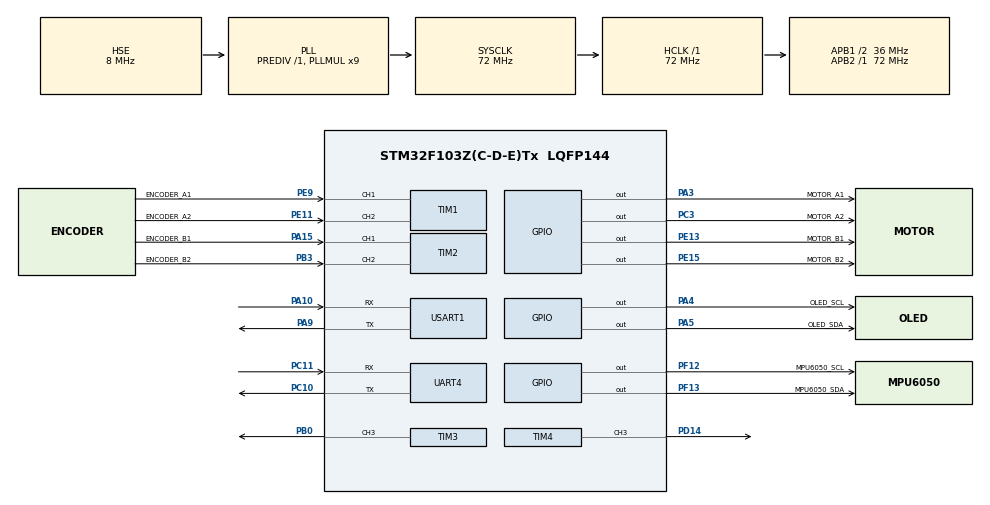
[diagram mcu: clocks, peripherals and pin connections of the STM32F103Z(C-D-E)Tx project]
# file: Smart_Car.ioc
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Dma.Request0=UART4_RX
Dma.UART4_RX.0.Direction=DMA_PERIPH_TO_MEMORY
Dma.UART4_RX.0.Instance=DMA2_Channel3
Dma.UART4_RX.0.MemDataAlignment=DMA_MDATAALIGN_BYTE
Dma.UART4_RX.0.MemInc=DMA_MINC_ENABLE
Dma.UART4_RX.0.Mode=DMA_NORMAL
Dma.UART4_RX.0.PeriphDataAlignment=DMA_PDATAALIGN_BYTE
Dma.UART4_RX.0.PeriphInc=DMA_PINC_DISABLE
Dma.UART4_RX.0.Priority=DMA_PRIORITY_LOW
FREERTOS.Tasks01=Task_200HZ,0,128,StartTask_200HZ,Default,NULL,Dynamic,NULL,NULL;Task_100HZ,-3,128,StartTask_100HZ,Default,NULL,Dynamic,NULL,NULL;Task_Printf,-3,128,StartTask_Printf,Default,NULL,Dynamic,NULL,NULL;Task_Interactio,-3,256,StartTask_Interaction,Default,NULL,Dynamic,NULL,NULL;Task_Oled,-3,128,StartTask_Oled,Default,NULL,Dynamic,NULL,NULL
FREERTOS.configTOTAL_HEAP_SIZE=30960
Mcu.Family=STM32F1
Mcu.Name=STM32F103Z(C-D-E)Tx
Mcu.Package=LQFP144
NVIC.DMA2_Channel3_IRQn=true\:5\:0\:false\:false\:true\:true\:false\:true
NVIC.PriorityGroup=NVIC_PRIORITYGROUP_4
NVIC.TIM5_IRQn=true\:0\:0\:false\:false\:true\:false\:false\:true
NVIC.TimeBase=TIM5_IRQn
NVIC.TimeBaseIP=TIM5
NVIC.UART4_IRQn=true\:5\:0\:false\:false\:true\:true\:true\:true
OSC_IN.Mode=HSE-External-Oscillator
OSC_IN.Signal=RCC_OSC_IN
OSC_OUT.Mode=HSE-External-Oscillator
OSC_OUT.Signal=RCC_OSC_OUT
PA10.Mode=Asynchronous
PA10.Signal=USART1_RX
PA13.Mode=Serial_Wire
PA13.Signal=SYS_JTMS-SWDIO
PA14.Mode=Serial_Wire
PA14.Signal=SYS_JTCK-SWCLK
PA15.GPIO_Label=ENCODER_B1
PA15.Signal=S_TIM2_CH1_ETR
PA3.GPIO_Label=MOTOR_A1
PA3.GPIO_Speed=GPIO_SPEED_FREQ_MEDIUM
PA3.Signal=GPIO_Output
PA4.GPIO_Label=OLED_SCL
PA4.GPIO_ModeDefaultOutputPP=GPIO_MODE_OUTPUT_OD
PA4.GPIO_Speed=GPIO_SPEED_FREQ_HIGH
PA4.PinState=GPIO_PIN_SET
PA4.Signal=GPIO_Output
PA5.GPIO_Label=OLED_SDA
PA5.GPIO_ModeDefaultOutputPP=GPIO_MODE_OUTPUT_OD
PA5.GPIO_Speed=GPIO_SPEED_FREQ_HIGH
PA5.PinState=GPIO_PIN_SET
PA5.Signal=GPIO_Output
PA9.Mode=Asynchronous
PA9.Signal=USART1_TX
PB0.Signal=S_TIM3_CH3
PB3.GPIO_Label=ENCODER_B2
PB3.Signal=S_TIM2_CH2
PC10.Mode=Asynchronous
PC10.Signal=UART4_TX
PC11.Mode=Asynchronous
PC11.Signal=UART4_RX
PC3.GPIO_Label=MOTOR_A2
PC3.GPIO_Speed=GPIO_SPEED_FREQ_MEDIUM
PC3.Signal=GPIO_Output
PD14.Signal=S_TIM4_CH3
PE11.GPIO_Label=ENCODER_A2
PE11.Signal=S_TIM1_CH2
PE13.GPIO_Label=MOTOR_B1
PE13.GPIO_Speed=GPIO_SPEED_FREQ_MEDIUM
PE13.Signal=GPIO_Output
PE15.GPIO_Label=MOTOR_B2
PE15.GPIO_Speed=GPIO_SPEED_FREQ_MEDIUM
PE15.Signal=GPIO_Output
PE9.GPIO_Label=ENCODER_A1
PE9.Signal=S_TIM1_CH1
PF12.GPIO_Label=MPU6050_SCL
PF12.GPIO_Speed=GPIO_SPEED_FREQ_HIGH
PF12.Signal=GPIO_Output
PF13.GPIO_Label=MPU6050_SDA
PF13.GPIO_Speed=GPIO_SPEED_FREQ_HIGH
PF13.Signal=GPIO_Output
ProjectManager.HeapSize=0x200
ProjectManager.StackSize=0x400
ProjectManager.TargetToolchain=MDK-ARM V5.27
RCC.AHBFreq_Value=72000000
RCC.APB1CLKDivider=RCC_HCLK_DIV2
RCC.APB1Freq_Value=36000000
RCC.APB1TimFreq_Value=72000000
RCC.APB2Freq_Value=72000000
RCC.APB2TimFreq_Value=72000000
RCC.HCLKFreq_Value=72000000
RCC.PLLMUL=RCC_PLL_MUL9
RCC.PLLSourceVirtual=RCC_PLLSOURCE_HSE
RCC.SYSCLKFreq_VALUE=72000000
RCC.SYSCLKSource=RCC_SYSCLKSOURCE_PLLCLK
RCC.USBFreq_Value=72000000
SH.S_TIM1_CH1.0=TIM1_CH1,Encoder_Interface
SH.S_TIM1_CH2.0=TIM1_CH2,Encoder_Interface
SH.S_TIM2_CH1_ETR.0=TIM2_CH1,Encoder_Interface
SH.S_TIM2_CH2.0=TIM2_CH2,Encoder_Interface
SH.S_TIM3_CH3.0=TIM3_CH3,PWM Generation3 CH3
SH.S_TIM4_CH3.0=TIM4_CH3,PWM Generation3 CH3
TIM1.EncoderMode=TIM_ENCODERMODE_TI12
TIM2.EncoderMode=TIM_ENCODERMODE_TI12
TIM3.Channel-PWM\ Generation3\ CH3=TIM_CHANNEL_3
TIM3.Period=8000
TIM4.Channel-PWM\ Generation3\ CH3=TIM_CHANNEL_3
TIM4.Period=8000
UART4.VirtualMode=Asynchronous
USART1.VirtualMode=VM_ASYNC
VP_FREERTOS_VS_CMSIS_V1.Mode=CMSIS_V1
VP_SYS_VS_tim5.Mode=TIM5
board=custom

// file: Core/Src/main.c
/* USER CODE BEGIN Header */
/**
  ******************************************************************************
  * @file           : main.c
  * @brief          : Main program body
  ******************************************************************************
  * @attention
  *
  * <h2><center>&copy; Copyright (c) 2023 STMicroelectronics.
  * All rights reserved.</center></h2>
  *
  * This software component is licensed by ST under Ultimate Liberty license
  * SLA0044, the "License"; You may not use this file except in compliance with
  * the License. You may obtain a copy of the License at:
  *                             www.st.com/SLA0044
  *
  ******************************************************************************
  */
/* USER CODE END Header */
//自定义依赖
#include "main.h"
#include "cmsis_os.h"
#include "dma.h"
#include "tim.h"
#include "usart.h"
#include "gpio.h"

void SystemClock_Config(void);
void MX_FREERTOS_Init(void);

/* USER CODE BEGIN 0 */

//重新写输出函数
int fputc(int ch,FILE *fp)
{
    while(!(USART1->SR&(1<<7)));
    USART1->DR = ch;
    return ch;
}

/* USER CODE END 0 */

int main(void)
{

  /* MCU Configuration--------------------------------------------------------*/

  /* Reset of all peripherals, Initializes the Flash interface and the Systick. */
  HAL_Init();

  /* Configure the system clock */
  SystemClock_Config();

  /* Initialize all configured peripherals */
  MX_GPIO_Init();
  MX_DMA_Init();
  MX_USART1_UART_Init();
  MX_TIM3_Init();
  MX_TIM4_Init();
  MX_TIM1_Init();
  MX_TIM2_Init();
  MX_UART4_Init();
  /* USER CODE BEGIN 2 */
//	DBG("program start \r\n");

	HAL_TIM_PWM_Start(&htim3, TIM_CHANNEL_3);
	HAL_TIM_PWM_Start(&htim4, TIM_CHANNEL_3);

	HAL_TIM_Encoder_Start(&htim1,TIM_CHANNEL_ALL);
	HAL_TIM_Encoder_Start(&htim2,TIM_CHANNEL_ALL);
  /* USER CODE END 2 */

  /* Call init function for freertos objects (in freertos.c) */
  MX_FREERTOS_Init();
  /* Start scheduler */
  osKernelStart();

  /* We should never get here as control is now taken by the scheduler */
  /* Infinite loop */
  while (1)
  {

  }
}

void SystemClock_Config(void)
{
  RCC_OscInitTypeDef RCC_OscInitStruct = {0};
  RCC_ClkInitTypeDef RCC_ClkInitStruct = {0};

  /** Initializes the RCC Oscillators according to the specified parameters
  * in the RCC_OscInitTypeDef structure.
  */
  RCC_OscInitStruct.OscillatorType = RCC_OSCILLATORTYPE_HSE;
  RCC_OscInitStruct.HSEState = RCC_HSE_ON;
  RCC_OscInitStruct.HSEPredivValue = RCC_HSE_PREDIV_DIV1;
  RCC_OscInitStruct.HSIState = RCC_HSI_ON;
  RCC_OscInitStruct.PLL.PLLState = RCC_PLL_ON;
  RCC_OscInitStruct.PLL.PLLSource = RCC_PLLSOURCE_HSE;
  RCC_OscInitStruct.PLL.PLLMUL = RCC_PLL_MUL9;
  if (HAL_RCC_OscConfig(&RCC_OscInitStruct) != HAL_OK)
  {
    Error_Handler();
  }
  /** Initializes the CPU, AHB and APB buses clocks
  */
  RCC_ClkInitStruct.ClockType = RCC_CLOCKTYPE_HCLK|RCC_CLOCKTYPE_SYSCLK
                              |RCC_CLOCKTYPE_PCLK1|RCC_CLOCKTYPE_PCLK2;
  RCC_ClkInitStruct.SYSCLKSource = RCC_SYSCLKSOURCE_PLLCLK;
  RCC_ClkInitStruct.AHBCLKDivider = RCC_SYSCLK_DIV1;
  RCC_ClkInitStruct.APB1CLKDivider = RCC_HCLK_DIV2;
  RCC_ClkInitStruct.APB2CLKDivider = RCC_HCLK_DIV1;

  if (HAL_RCC_ClockConfig(&RCC_ClkInitStruct, FLASH_LATENCY_2) != HAL_OK)
  {
    Error_Handler();
  }
}

 /**
  * @brief  Period elapsed callback in non blocking mode
  * @note   This function is called  when TIM5 interrupt took place, inside
  * HAL_TIM_IRQHandler(). It makes a direct call to HAL_IncTick() to increment
  * a global variable "uwTick" used as application time base.
  * @param  htim : TIM handle
  * @retval None
  */
void HAL_TIM_PeriodElapsedCallback(TIM_HandleTypeDef *htim)
{
  if (htim->Instance == TIM5) {
    HAL_IncTick();
  }
}

void Error_Handler(void)
{
  __disable_irq();
  while (1)
  {
  }
}

/************************ (C) COPYRIGHT STMicroelectronics *****END OF FILE****/

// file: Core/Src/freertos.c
/* USER CODE BEGIN Header */
/**
  ******************************************************************************
  * File Name          : freertos.c
  * Description        : Code for freertos applications
  ******************************************************************************
  * @attention
  *
  * <h2><center>&copy; Copyright (c) 2023 STMicroelectronics.
  * All rights reserved.</center></h2>
  *
  * This software component is licensed by ST under Ultimate Liberty license
  * SLA0044, the "License"; You may not use this file except in compliance with
  * the License. You may obtain a copy of the License at:
  *                             www.st.com/SLA0044
  *
  ******************************************************************************
  */
/* USER CODE END Header */

#include "FreeRTOS.h"
#include "task.h"
#include "main.h"
#include "cmsis_os.h"

/* USER CODE BEGIN Includes */
#include "mpu6050.h"
#include "car_task.h"
#include "esp32.h"
#include "oled.h"
/* USER CODE END Includes */

/* USER CODE BEGIN PM */
#define   Message_Q_NUM      5
#define   Message_Q_Length   sizeof(tEsp32_RcvBuf)
xQueueHandle  Message_Queue;
tEsp32_RcvBuf Uart4_Rcv;
/* USER CODE END PM */

osThreadId Task_200HZHandle;
osThreadId Task_100HZHandle;
osThreadId Task_PrintfHandle;
osThreadId Task_InteractioHandle;
osThreadId Task_OledHandle;

void StartTask_200HZ(void const * argument);
void StartTask_100HZ(void const * argument);
void StartTask_Printf(void const * argument);
void StartTask_Interaction(void const * argument);
void StartTask_Oled(void const * argument);

void MX_FREERTOS_Init(void); /* (MISRA C 2004 rule 8.1) */

/* GetIdleTaskMemory prototype (linked to static allocation support) */
void vApplicationGetIdleTaskMemory( StaticTask_t **ppxIdleTaskTCBBuffer, StackType_t **ppxIdleTaskStackBuffer, uint32_t *pulIdleTaskStackSize );

/* USER CODE BEGIN GET_IDLE_TASK_MEMORY */
static StaticTask_t xIdleTaskTCBBuffer;
static StackType_t xIdleStack[configMINIMAL_STACK_SIZE];

void vApplicationGetIdleTaskMemory( StaticTask_t **ppxIdleTaskTCBBuffer, StackType_t **ppxIdleTaskStackBuffer, uint32_t *pulIdleTaskStackSize )
{
  *ppxIdleTaskTCBBuffer = &xIdleTaskTCBBuffer;
  *ppxIdleTaskStackBuffer = &xIdleStack[0];
  *pulIdleTaskStackSize = configMINIMAL_STACK_SIZE;
  /* place for user code */
}
/* USER CODE END GET_IDLE_TASK_MEMORY */

void MX_FREERTOS_Init(void) {

  /* Create the thread(s) */
  /* definition and creation of Task_200HZ */
  osThreadDef(Task_200HZ, StartTask_200HZ, osPriorityNormal, 0, 128);
  Task_200HZHandle = osThreadCreate(osThread(Task_200HZ), NULL);

  /* definition and creation of Task_100HZ */
  osThreadDef(Task_100HZ, StartTask_100HZ, osPriorityIdle, 0, 128);
  Task_100HZHandle = osThreadCreate(osThread(Task_100HZ), NULL);

  /* definition and creation of Task_Printf */
  osThreadDef(Task_Printf, StartTask_Printf, osPriorityIdle, 0, 128);
  Task_PrintfHandle = osThreadCreate(osThread(Task_Printf), NULL);

  /* definition and creation of Task_Interactio */
  osThreadDef(Task_Interactio, StartTask_Interaction, osPriorityIdle, 0, 256);
  Task_InteractioHandle = osThreadCreate(osThread(Task_Interactio), NULL);

  /* definition and creation of Task_Oled */
  osThreadDef(Task_Oled, StartTask_Oled, osPriorityIdle, 0, 128);
  Task_OledHandle = osThreadCreate(osThread(Task_Oled), NULL);

}

void StartTask_200HZ(void const * argument)
{
  /* USER CODE BEGIN StartTask_200HZ */
	MPU_Init();
	while(mpu_dmp_init());

//	struct _acc acc;
//	struct _gyro gyro;

  /* Infinite loop */
  for(;;)
  {
//		MPU_Get_Gyroscope(&acc.x,&acc.y,&acc.z);
//		MPU_Get_Accelerometer(&gyro.x,&gyro.y,&gyro.z);
//		printf("%d,%d,%d -- \r\n",acc.x,acc.y,acc.z);
		//printf("%d,%d,%d -- \r\n",gyro.x,gyro.y,gyro.z);
		Car_Task_200HZ();
    osDelay(5);
  }
  /* USER CODE END StartTask_200HZ */
}

void StartTask_100HZ(void const * argument)
{
  /* USER CODE BEGIN StartTask_100HZ */
  /* Infinite loop */

	//Set_PWM(0,4000);
  for(;;)
  {
		Car_Task_100HZ();
    osDelay(10);
  }
  /* USER CODE END StartTask_100HZ */
}

void StartTask_Printf(void const * argument)
{
  /* USER CODE BEGIN StartTask_Printf */
  /* Infinite loop */
  for(;;)
  {

		Printf_Task();
    osDelay(200);
  }
  /* USER CODE END StartTask_Printf */
}

void StartTask_Interaction(void const * argument)
{
  /* USER CODE BEGIN StartTask_Interaction */
	uint8_t time = 0;
	 printf("交互进程运行\n");
	//创建队列
	 Message_Queue =  xQueueCreate ( Message_Q_NUM, Message_Q_Length );
	//接收DMA
	 HAL_UART_Receive_DMA(&huart4, Uart4_Rcv.RcvBuf, 255);
	//开启中断
	 __HAL_UART_ENABLE_IT(&huart4,UART_IT_IDLE );
	//初始化esp32
	ESP32_Init();
	printf("交互进程初始化完成\n");
  /* Infinite loop */
  for(;;)
  {
		//接收发送过来的数据
		ESP32_Data_Rcv();
		//printf("%s","开始");
    osDelay(10);	//100hz
  }
  /* USER CODE END StartTask_Interaction */
}

void StartTask_Oled(void const * argument)
{
  /* USER CODE BEGIN StartTask_Oled */
	OLED_Init();
  /* Infinite loop */
  for(;;)
  {
		Oled_Task();
    osDelay(10);
  }
  /* USER CODE END StartTask_Oled */
}

/************************ (C) COPYRIGHT STMicroelectronics *****END OF FILE****/
